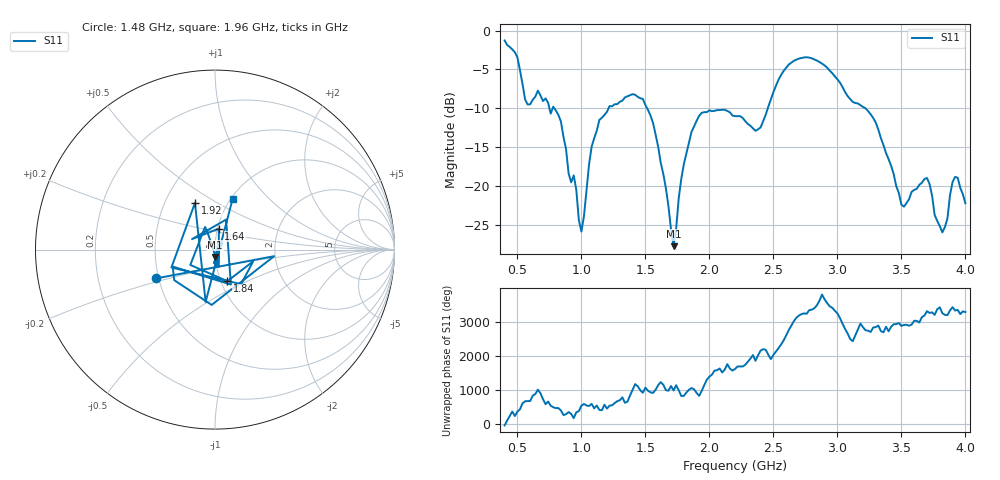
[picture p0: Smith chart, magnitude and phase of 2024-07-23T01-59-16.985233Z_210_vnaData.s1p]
!Created with skrf (http://scikit-rf.org).
# Hz S RI R 50.0
!freq ReS11 ImS11
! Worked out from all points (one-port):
!   181 points, 400 MHz to 4 GHz, reference 50 ohm
!   lowest |S11| = -27.7 dB at 1.72 GHz (marker M1), VSWR 1.09, Z = 50 - j4.1 ohm
!   |S11| at or under -10 dB: 788.6 MHz to 1.212 GHz (423.6 MHz wide, 42.3 % of centre); 1.513 GHz to 2.456 GHz (942.8 MHz wide, 47.5 % of centre); 3.22 GHz to end of sweep (the widest 3 of 4)
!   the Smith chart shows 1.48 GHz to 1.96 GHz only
!   S11 on the Smith chart (normalised r, x): 1.48 GHz: 0.49, -0.18; 1.64 GHz: 1.02, +0.24; 1.84 GHz: 1.07, -0.39; 1.92 GHz: 0.71, +0.40; 1.96 GHz: 1.02, +0.63
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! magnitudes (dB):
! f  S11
! 400 MHz  -1.3
! 500 MHz  -3.4
! 580 MHz  -9.5
! 660 MHz  -7.7
! 860 MHz  -13.7
! 1 GHz  -25.9
! 1.08 GHz  -14.9
! 1.14 GHz  -11.5
! 1.3 GHz  -9.2
! 1.48 GHz  -8.8
! 1.64 GHz  -18.5
! 1.72 GHz  -27.7
! 1.76 GHz  -21.6
! 1.84 GHz  -14.5
! 1.92 GHz  -11.0
! 1.96 GHz  -10.5
! 2.2 GHz  -11.0
! 2.4 GHz  -12.5
! 2.66 GHz  -3.9
! 2.88 GHz  -4.3
! 3.1 GHz  -8.8
! 3.28 GHz  -11.3
! 3.5 GHz  -22.4
! 3.56 GHz  -21.7
! 3.7 GHz  -19.0
! 3.82 GHz  -26.0
! 3.92 GHz  -18.8
! 4 GHz  -22.2
